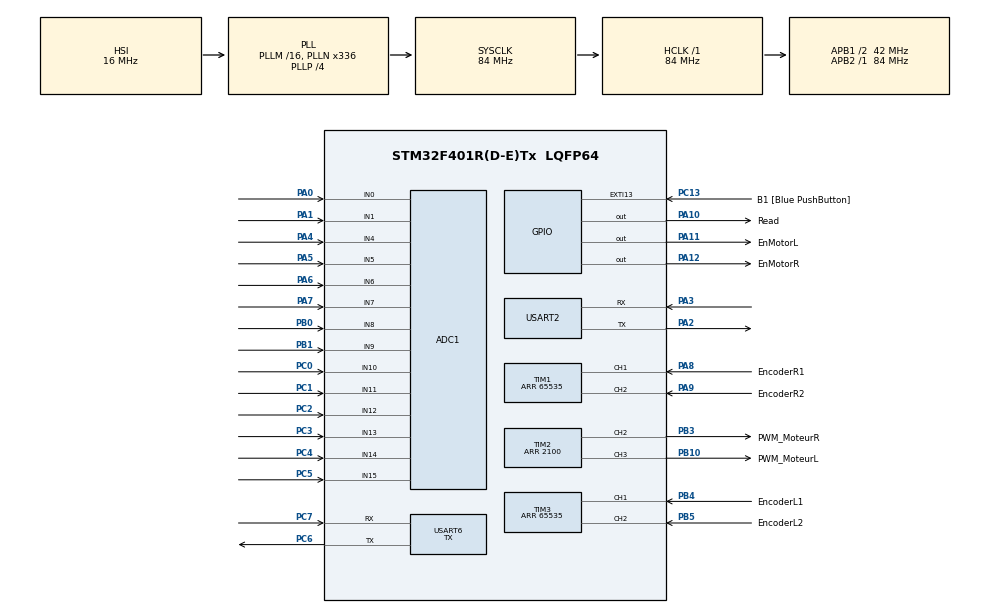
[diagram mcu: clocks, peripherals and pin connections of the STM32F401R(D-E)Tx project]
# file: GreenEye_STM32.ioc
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ADC1.Channel-0\#ChannelRegularConversion=ADC_CHANNEL_0
ADC1.Channel-1\#ChannelRegularConversion=ADC_CHANNEL_1
ADC1.Channel-10\#ChannelRegularConversion=ADC_CHANNEL_7
ADC1.Channel-11\#ChannelRegularConversion=ADC_CHANNEL_9
ADC1.Channel-12\#ChannelRegularConversion=ADC_CHANNEL_14
ADC1.Channel-2\#ChannelRegularConversion=ADC_CHANNEL_4
ADC1.Channel-3\#ChannelRegularConversion=ADC_CHANNEL_8
ADC1.Channel-4\#ChannelRegularConversion=ADC_CHANNEL_11
ADC1.Channel-5\#ChannelRegularConversion=ADC_CHANNEL_10
ADC1.Channel-6\#ChannelRegularConversion=ADC_CHANNEL_12
ADC1.Channel-7\#ChannelRegularConversion=ADC_CHANNEL_13
ADC1.Channel-8\#ChannelRegularConversion=ADC_CHANNEL_5
ADC1.Channel-9\#ChannelRegularConversion=ADC_CHANNEL_6
ADC1.ContinuousConvMode=DISABLE
ADC1.DMAContinuousRequests=ENABLE
ADC1.EOCSelection=ADC_EOC_SEQ_CONV
ADC1.ExternalTrigConv=ADC_SOFTWARE_START
ADC1.ExternalTrigConvEdge=ADC_EXTERNALTRIGCONVEDGE_NONE
ADC1.InjNumberOfConversion=0
ADC1.NbrOfConversion=13
ADC1.NbrOfConversionFlag=1
ADC1.Rank-0\#ChannelRegularConversion=1
ADC1.Rank-1\#ChannelRegularConversion=2
ADC1.Rank-10\#ChannelRegularConversion=11
ADC1.Rank-11\#ChannelRegularConversion=12
ADC1.Rank-12\#ChannelRegularConversion=13
ADC1.Rank-2\#ChannelRegularConversion=3
ADC1.Rank-3\#ChannelRegularConversion=4
ADC1.Rank-4\#ChannelRegularConversion=5
ADC1.Rank-5\#ChannelRegularConversion=6
ADC1.Rank-6\#ChannelRegularConversion=7
ADC1.Rank-7\#ChannelRegularConversion=8
ADC1.Rank-8\#ChannelRegularConversion=9
ADC1.Rank-9\#ChannelRegularConversion=10
ADC1.SamplingTime-0\#ChannelRegularConversion=ADC_SAMPLETIME_3CYCLES
ADC1.SamplingTime-1\#ChannelRegularConversion=ADC_SAMPLETIME_3CYCLES
ADC1.SamplingTime-10\#ChannelRegularConversion=ADC_SAMPLETIME_3CYCLES
ADC1.SamplingTime-11\#ChannelRegularConversion=ADC_SAMPLETIME_3CYCLES
ADC1.SamplingTime-12\#ChannelRegularConversion=ADC_SAMPLETIME_3CYCLES
ADC1.SamplingTime-2\#ChannelRegularConversion=ADC_SAMPLETIME_3CYCLES
ADC1.SamplingTime-3\#ChannelRegularConversion=ADC_SAMPLETIME_3CYCLES
ADC1.SamplingTime-4\#ChannelRegularConversion=ADC_SAMPLETIME_3CYCLES
ADC1.SamplingTime-5\#ChannelRegularConversion=ADC_SAMPLETIME_3CYCLES
ADC1.SamplingTime-6\#ChannelRegularConversion=ADC_SAMPLETIME_3CYCLES
ADC1.SamplingTime-7\#ChannelRegularConversion=ADC_SAMPLETIME_3CYCLES
ADC1.SamplingTime-8\#ChannelRegularConversion=ADC_SAMPLETIME_3CYCLES
ADC1.SamplingTime-9\#ChannelRegularConversion=ADC_SAMPLETIME_3CYCLES
ADC1.ScanConvMode=ENABLE
ADC1.master=1
Dma.ADC1.4.Direction=DMA_PERIPH_TO_MEMORY
Dma.ADC1.4.FIFOMode=DMA_FIFOMODE_DISABLE
Dma.ADC1.4.Instance=DMA2_Stream0
Dma.ADC1.4.MemDataAlignment=DMA_MDATAALIGN_WORD
Dma.ADC1.4.MemInc=DMA_MINC_ENABLE
Dma.ADC1.4.Mode=DMA_CIRCULAR
Dma.ADC1.4.PeriphDataAlignment=DMA_PDATAALIGN_WORD
Dma.ADC1.4.PeriphInc=DMA_PINC_DISABLE
Dma.ADC1.4.Priority=DMA_PRIORITY_LOW
Dma.Request0=USART6_RX
Dma.Request1=USART6_TX
Dma.Request2=USART2_RX
Dma.Request3=USART2_TX
Dma.Request4=ADC1
Dma.USART2_RX.2.Direction=DMA_PERIPH_TO_MEMORY
Dma.USART2_RX.2.FIFOMode=DMA_FIFOMODE_DISABLE
Dma.USART2_RX.2.Instance=DMA1_Stream5
Dma.USART2_RX.2.MemDataAlignment=DMA_MDATAALIGN_BYTE
Dma.USART2_RX.2.MemInc=DMA_MINC_ENABLE
Dma.USART2_RX.2.Mode=DMA_CIRCULAR
Dma.USART2_RX.2.PeriphDataAlignment=DMA_PDATAALIGN_BYTE
Dma.USART2_RX.2.PeriphInc=DMA_PINC_DISABLE
Dma.USART2_RX.2.Priority=DMA_PRIORITY_LOW
Dma.USART2_TX.3.Direction=DMA_MEMORY_TO_PERIPH
Dma.USART2_TX.3.FIFOMode=DMA_FIFOMODE_DISABLE
Dma.USART2_TX.3.Instance=DMA1_Stream6
Dma.USART2_TX.3.MemDataAlignment=DMA_MDATAALIGN_BYTE
Dma.USART2_TX.3.MemInc=DMA_MINC_ENABLE
Dma.USART2_TX.3.Mode=DMA_NORMAL
Dma.USART2_TX.3.PeriphDataAlignment=DMA_PDATAALIGN_BYTE
Dma.USART2_TX.3.PeriphInc=DMA_PINC_DISABLE
Dma.USART2_TX.3.Priority=DMA_PRIORITY_LOW
Dma.USART6_RX.0.Direction=DMA_PERIPH_TO_MEMORY
Dma.USART6_RX.0.FIFOMode=DMA_FIFOMODE_DISABLE
Dma.USART6_RX.0.Instance=DMA2_Stream1
Dma.USART6_RX.0.MemDataAlignment=DMA_MDATAALIGN_BYTE
Dma.USART6_RX.0.MemInc=DMA_MINC_ENABLE
Dma.USART6_RX.0.Mode=DMA_NORMAL
Dma.USART6_RX.0.PeriphDataAlignment=DMA_PDATAALIGN_BYTE
Dma.USART6_RX.0.PeriphInc=DMA_PINC_DISABLE
Dma.USART6_RX.0.Priority=DMA_PRIORITY_LOW
Dma.USART6_TX.1.Direction=DMA_MEMORY_TO_PERIPH
Dma.USART6_TX.1.FIFOMode=DMA_FIFOMODE_DISABLE
Dma.USART6_TX.1.Instance=DMA2_Stream6
Dma.USART6_TX.1.MemDataAlignment=DMA_MDATAALIGN_BYTE
Dma.USART6_TX.1.MemInc=DMA_MINC_ENABLE
Dma.USART6_TX.1.Mode=DMA_NORMAL
Dma.USART6_TX.1.PeriphDataAlignment=DMA_PDATAALIGN_BYTE
Dma.USART6_TX.1.PeriphInc=DMA_PINC_DISABLE
Dma.USART6_TX.1.Priority=DMA_PRIORITY_LOW
Mcu.Family=STM32F4
Mcu.Name=STM32F401R(D-E)Tx
Mcu.Package=LQFP64
NVIC.ADC_IRQn=true\:0\:0\:false\:false\:true\:true
NVIC.DMA1_Stream5_IRQn=true\:0\:0\:false\:false\:true\:false
NVIC.DMA1_Stream6_IRQn=true\:0\:0\:false\:false\:true\:false
NVIC.DMA2_Stream0_IRQn=true\:0\:0\:false\:false\:true\:false
NVIC.DMA2_Stream1_IRQn=true\:0\:0\:false\:false\:true\:false
NVIC.DMA2_Stream6_IRQn=true\:0\:0\:false\:false\:true\:false
NVIC.PriorityGroup=NVIC_PRIORITYGROUP_0
NVIC.TIM1_BRK_TIM9_IRQn=true\:0\:0\:false\:false\:true\:true
NVIC.TIM1_TRG_COM_TIM11_IRQn=true\:0\:0\:false\:false\:true\:true
NVIC.TIM1_UP_TIM10_IRQn=true\:0\:0\:false\:false\:true\:true
NVIC.USART2_IRQn=true\:0\:0\:false\:false\:true\:true
NVIC.USART6_IRQn=true\:0\:0\:false\:false\:true\:true
PA0-WKUP.Signal=ADCx_IN0
PA1.Signal=ADCx_IN1
PA10.GPIO_Label=Read
PA10.Signal=GPIO_Output
PA11.GPIO_Label=EnMotorL
PA11.GPIO_Speed=GPIO_SPEED_FREQ_VERY_HIGH
PA11.Signal=GPIO_Output
PA12.GPIO_Label=EnMotorR
PA12.GPIO_Speed=GPIO_SPEED_FREQ_VERY_HIGH
PA12.Signal=GPIO_Output
PA13.GPIO_Label=TMS
PA13.Mode=Serial_Wire
PA13.Signal=SYS_JTMS-SWDIO
PA14.GPIO_Label=TCK
PA14.Mode=Serial_Wire
PA14.Signal=SYS_JTCK-SWCLK
PA2.Mode=Asynchronous
PA2.Signal=USART2_TX
PA3.Mode=Asynchronous
PA3.Signal=USART2_RX
PA4.Signal=ADCx_IN4
PA5.Signal=ADCx_IN5
PA6.Signal=ADCx_IN6
PA7.Signal=ADCx_IN7
PA8.GPIO_Label=EncoderR1
PA8.GPIO_ModeDefaultPP=GPIO_MODE_AF_PP
PA8.GPIO_PuPd=GPIO_PULLUP
PA8.GPIO_Speed=GPIO_SPEED_FREQ_VERY_HIGH
PA8.Signal=S_TIM1_CH1
PA9.GPIO_Label=EncoderR2
PA9.GPIO_ModeDefaultPP=GPIO_MODE_AF_PP
PA9.GPIO_PuPd=GPIO_PULLUP
PA9.GPIO_Speed=GPIO_SPEED_FREQ_VERY_HIGH
PA9.Signal=S_TIM1_CH2
PB0.Signal=ADCx_IN8
PB1.Signal=ADCx_IN9
PB10.GPIO_Label=PWM_MoteurL
PB10.Signal=S_TIM2_CH3
PB3.GPIO_Label=PWM_MoteurR
PB3.Signal=S_TIM2_CH2
PB4.GPIO_Label=EncoderL1
PB4.GPIO_ModeDefaultPP=GPIO_MODE_AF_PP
PB4.GPIO_PuPd=GPIO_PULLUP
PB4.GPIO_Speed=GPIO_SPEED_FREQ_VERY_HIGH
PB4.Signal=S_TIM3_CH1
PB5.GPIO_Label=EncoderL2
PB5.GPIO_ModeDefaultPP=GPIO_MODE_AF_PP
PB5.GPIO_PuPd=GPIO_PULLUP
PB5.GPIO_Speed=GPIO_SPEED_FREQ_VERY_HIGH
PB5.Signal=S_TIM3_CH2
PC0.Signal=ADCx_IN10
PC1.Signal=ADCx_IN11
PC13-ANTI_TAMP.GPIO_Label=B1 [Blue PushButton]
PC13-ANTI_TAMP.GPIO_ModeDefaultEXTI=GPIO_MODE_IT_FALLING
PC13-ANTI_TAMP.GPIO_PuPd=GPIO_NOPULL
PC13-ANTI_TAMP.Signal=GPXTI13
PC14-OSC32_IN.Mode=LSE-External-Oscillator
PC14-OSC32_IN.Signal=RCC_OSC32_IN
PC15-OSC32_OUT.Mode=LSE-External-Oscillator
PC15-OSC32_OUT.Signal=RCC_OSC32_OUT
PC2.Signal=ADCx_IN12
PC3.Signal=ADCx_IN13
PC4.Signal=ADCx_IN14
PC5.Signal=ADCx_IN15
PC6.Mode=Asynchronous
PC6.Signal=USART6_TX
PC7.Mode=Asynchronous
PC7.Signal=USART6_RX
PH0\ -\ OSC_IN.Mode=HSE-External-Clock-Source
PH0\ -\ OSC_IN.Signal=RCC_OSC_IN
PH1\ -\ OSC_OUT.Mode=HSE-External-Clock-Source
PH1\ -\ OSC_OUT.Signal=RCC_OSC_OUT
ProjectManager.HeapSize=0x200
ProjectManager.StackSize=0x400
ProjectManager.TargetToolchain=MDK-ARM V5
RCC.48MHZClocksFreq_Value=48000000
RCC.AHBFreq_Value=84000000
RCC.APB1CLKDivider=RCC_HCLK_DIV2
RCC.APB1Freq_Value=42000000
RCC.APB1TimFreq_Value=84000000
RCC.APB2Freq_Value=84000000
RCC.APB2TimFreq_Value=84000000
RCC.CortexFreq_Value=84000000
RCC.HCLKFreq_Value=84000000
RCC.HSE_VALUE=8000000
RCC.HSI_VALUE=16000000
RCC.PLLN=336
RCC.PLLP=RCC_PLLP_DIV4
RCC.PLLQ=7
RCC.SYSCLKFreq_VALUE=84000000
RCC.SYSCLKSource=RCC_SYSCLKSOURCE_PLLCLK
RCC.VCOOutputFreq_Value=336000000
SH.ADCx_IN0.0=ADC1_IN0,IN0
SH.ADCx_IN1.0=ADC1_IN1,IN1
SH.ADCx_IN10.0=ADC1_IN10,IN10
SH.ADCx_IN11.0=ADC1_IN11,IN11
SH.ADCx_IN12.0=ADC1_IN12,IN12
SH.ADCx_IN13.0=ADC1_IN13,IN13
SH.ADCx_IN14.0=ADC1_IN14,IN14
SH.ADCx_IN15.0=ADC1_IN15,IN15
SH.ADCx_IN4.0=ADC1_IN4,IN4
SH.ADCx_IN5.0=ADC1_IN5,IN5
SH.ADCx_IN6.0=ADC1_IN6,IN6
SH.ADCx_IN7.0=ADC1_IN7,IN7
SH.ADCx_IN8.0=ADC1_IN8,IN8
SH.ADCx_IN9.0=ADC1_IN9,IN9
SH.S_TIM1_CH1.0=TIM1_CH1,Encoder_Interface
SH.S_TIM1_CH2.0=TIM1_CH2,Encoder_Interface
SH.S_TIM2_CH2.0=TIM2_CH2,PWM Generation2 CH2
SH.S_TIM2_CH3.0=TIM2_CH3,PWM Generation3 CH3
SH.S_TIM3_CH1.0=TIM3_CH1,Encoder_Interface
SH.S_TIM3_CH2.0=TIM3_CH2,Encoder_Interface
TIM1.EncoderMode=TIM_ENCODERMODE_TI12
TIM1.IC1Filter=0
TIM1.IC1Prescaler=TIM_ICPSC_DIV1
TIM1.IC2Filter=0
TIM1.IC2Prescaler=TIM_ICPSC_DIV1
TIM1.Period=65535
TIM1.TIM_MasterOutputTrigger=TIM_TRGO_UPDATE
TIM1.TIM_MasterSlaveMode=TIM_MASTERSLAVEMODE_DISABLE
TIM10.Period=42300
TIM10.Prescaler=19
TIM11.Period=21000
TIM11.Prescaler=0
TIM2.Channel-Output\ Compare4\ No\ Output=TIM_CHANNEL_4
TIM2.Channel-PWM\ Generation2\ CH2=TIM_CHANNEL_2
TIM2.Channel-PWM\ Generation3\ CH3=TIM_CHANNEL_3
TIM2.CounterMode=TIM_COUNTERMODE_CENTERALIGNED1
TIM2.OCMode_4=TIM_OCMODE_TOGGLE
TIM2.Period=2100
TIM3.EncoderMode=TIM_ENCODERMODE_TI12
TIM3.IC1Filter=0
TIM3.IC1Prescaler=TIM_ICPSC_DIV1
TIM3.IC2Filter=0
TIM3.IC2Prescaler=TIM_ICPSC_DIV1
TIM3.Period=65535
TIM9.Period=42300
TIM9.Prescaler=25
USART2.VirtualMode=VM_ASYNC
USART6.Mode=MODE_TX
USART6.VirtualMode=VM_ASYNC
VP_TIM10_VS_ClockSourceINT.Mode=Enable_Timer
VP_TIM11_VS_ClockSourceINT.Mode=Enable_Timer
VP_TIM2_VS_ClockSourceINT.Mode=Internal
VP_TIM2_VS_no_output4.Mode=Output Compare4 No Output
VP_TIM9_VS_ClockSourceINT.Mode=Internal
board=NUCLEO-F401RE

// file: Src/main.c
/* USER CODE BEGIN Header */
/**
  ******************************************************************************
  * @file           : main.c
  * @brief          : Main program body
  ******************************************************************************
  ** This notice applies to any and all portions of this file
  * that are not between comment pairs USER CODE BEGIN and
  * USER CODE END. Other portions of this file, whether
  * inserted by the user or by software development tools
  * are owned by their respective copyright owners.
  *
  * COPYRIGHT(c) 2019 STMicroelectronics
  *
  * Redistribution and use in source and binary forms, with or without modification,
  * are permitted provided that the following conditions are met:
  *   1. Redistributions of source code must retain the above copyright notice,
  *      this list of conditions and the following disclaimer.
  *   2. Redistributions in binary form must reproduce the above copyright notice,
  *      this list of conditions and the following disclaimer in the documentation
  *      and/or other materials provided with the distribution.
  *   3. Neither the name of STMicroelectronics nor the names of its contributors
  *      may be used to endorse or promote products derived from this software
  *      without specific prior written permission.
  *
  * THIS SOFTWARE IS PROVIDED BY THE COPYRIGHT HOLDERS AND CONTRIBUTORS "AS IS"
  * AND ANY EXPRESS OR IMPLIED WARRANTIES, INCLUDING, BUT NOT LIMITED TO, THE
  * IMPLIED WARRANTIES OF MERCHANTABILITY AND FITNESS FOR A PARTICULAR PURPOSE ARE
  * DISCLAIMED. IN NO EVENT SHALL THE COPYRIGHT HOLDER OR CONTRIBUTORS BE LIABLE
  * FOR ANY DIRECT, INDIRECT, INCIDENTAL, SPECIAL, EXEMPLARY, OR CONSEQUENTIAL
  * DAMAGES (INCLUDING, BUT NOT LIMITED TO, PROCUREMENT OF SUBSTITUTE GOODS OR
  * SERVICES; LOSS OF USE, DATA, OR PROFITS; OR BUSINESS INTERRUPTION) HOWEVER
  * CAUSED AND ON ANY THEORY OF LIABILITY, WHETHER IN CONTRACT, STRICT LIABILITY,
  * OR TORT (INCLUDING NEGLIGENCE OR OTHERWISE) ARISING IN ANY WAY OUT OF THE USE
  * OF THIS SOFTWARE, EVEN IF ADVISED OF THE POSSIBILITY OF SUCH DAMAGE.
  *
  ******************************************************************************
  */
/* USER CODE END Header */

#include "main.h"

/* USER CODE BEGIN Includes */
#include <stdio.h>
#include <stdlib.h>
#include <math.h>
#include <string.h>
#include "Communication_function.h"
#include "Extern_call_variable.h"
#include "List_Variables.h"
/* USER CODE END Includes */

ADC_HandleTypeDef hadc1;
DMA_HandleTypeDef hdma_adc1;

TIM_HandleTypeDef htim1;
TIM_HandleTypeDef htim2;
TIM_HandleTypeDef htim3;
TIM_HandleTypeDef htim9;
TIM_HandleTypeDef htim10;
TIM_HandleTypeDef htim11;

UART_HandleTypeDef huart2;
UART_HandleTypeDef huart6;
DMA_HandleTypeDef hdma_usart2_rx;
DMA_HandleTypeDef hdma_usart2_tx;
DMA_HandleTypeDef hdma_usart6_rx;
DMA_HandleTypeDef hdma_usart6_tx;

/* USER CODE BEGIN PV */
CONTROL_TYPE REGULATOR=No_Control,REGULATOR_CACHE=No_Control;

/* USER CODE END PV */

void SystemClock_Config(void);
static void MX_GPIO_Init(void);
static void MX_DMA_Init(void);
static void MX_TIM1_Init(void);
static void MX_TIM9_Init(void);
static void MX_USART6_UART_Init(void);
static void MX_USART2_UART_Init(void);
static void MX_ADC1_Init(void);
static void MX_TIM3_Init(void);
static void MX_TIM2_Init(void);
static void MX_TIM10_Init(void);
static void MX_TIM11_Init(void);

int main(void)
{

  /* MCU Configuration--------------------------------------------------------*/

  /* Reset of all peripherals, Initializes the Flash interface and the Systick. */
  HAL_Init();

  /* Configure the system clock */
  SystemClock_Config();

  /* Initialize all configured peripherals */
  MX_GPIO_Init();
  MX_DMA_Init();
  MX_TIM1_Init();
  MX_TIM9_Init();
  MX_USART6_UART_Init();
  MX_USART2_UART_Init();
  MX_ADC1_Init();
  MX_TIM3_Init();
  MX_TIM2_Init();
  MX_TIM10_Init();
  MX_TIM11_Init();
  /* USER CODE BEGIN 2 */
  //HAL_TIM_Base_Start(&htim1);  //PA9 & PA8 for ch1 and ch2 of encoder by default
	//HAL_TIM_Base_Start(&htim5);  //PA9 & PA8 for ch1 and ch2 of encoder by default
	HAL_TIM_PWM_Start(&htim2,TIM_CHANNEL_2);// PWM Moteur
	HAL_TIM_PWM_Start(&htim2,TIM_CHANNEL_3);// PWM Moteur
	HAL_TIM_OC_Start(&htim2,TIM_CHANNEL_4);//Conversion adc
	HAL_TIM_Encoder_Start(&htim1,TIM_CHANNEL_ALL);
	HAL_TIM_Encoder_Start(&htim3,TIM_CHANNEL_ALL);
	HAL_TIM_Base_Start_IT(&htim9); // 100 hz interrupt
	HAL_TIM_Base_Start_IT(&htim10); // 100 hz interrupt
	HAL_TIM_Base_Start_IT(&htim11); //  hz interrupt
	HAL_ADC_Start_DMA(&hadc1,Result_ADC,13);
	__HAL_UART_ENABLE_IT(&huart2, UART_IT_IDLE);   // Enable IDLE Line Interrupt
	__HAL_DMA_ENABLE_IT (&hdma_usart2_rx, DMA_IT_TC);  // Enable DMA Complete Interruption (DMA is full)
	hdma_usart2_rx.Instance->CR &= ~DMA_SxCR_HTIE;  // Disable DMA Half Complete Interruption (DMA is half full)
	HAL_UART_Receive_DMA (&huart2, BUFFER_RX_UART2[Indice_Stop_RX_UART2], SIZE_UART);
	uint8_t Answer[64];
	sprintf((char*)Answer,"STM32_Primary");
	//Transmit_UART_2(Answer);
  /* USER CODE END 2 */

  /* Infinite loop */
  /* USER CODE BEGIN WHILE */
	/* Communication with :Transmit_UART_2();)*/
  while (1)
  {
    /* USER CODE END WHILE */

    /* USER CODE BEGIN 3 */

	//TIM2->CCR2=abs(Output_Right_Motor);
					//HAL_GPIO_WritePin(GPIOA,GPIO_PIN_12,GPIO_PIN_RESET);

	}
  /* USER CODE END 3 */
}

void SystemClock_Config(void)
{
  RCC_OscInitTypeDef RCC_OscInitStruct = {0};
  RCC_ClkInitTypeDef RCC_ClkInitStruct = {0};

  /**Configure the main internal regulator output voltage
  */
  __HAL_RCC_PWR_CLK_ENABLE();
  __HAL_PWR_VOLTAGESCALING_CONFIG(PWR_REGULATOR_VOLTAGE_SCALE2);
  /**Initializes the CPU, AHB and APB busses clocks
  */
  RCC_OscInitStruct.OscillatorType = RCC_OSCILLATORTYPE_HSI;
  RCC_OscInitStruct.HSIState = RCC_HSI_ON;
  RCC_OscInitStruct.HSICalibrationValue = RCC_HSICALIBRATION_DEFAULT;
  RCC_OscInitStruct.PLL.PLLState = RCC_PLL_ON;
  RCC_OscInitStruct.PLL.PLLSource = RCC_PLLSOURCE_HSI;
  RCC_OscInitStruct.PLL.PLLM = 16;
  RCC_OscInitStruct.PLL.PLLN = 336;
  RCC_OscInitStruct.PLL.PLLP = RCC_PLLP_DIV4;
  RCC_OscInitStruct.PLL.PLLQ = 7;
  if (HAL_RCC_OscConfig(&RCC_OscInitStruct) != HAL_OK)
  {
    Error_Handler();
  }
  /**Initializes the CPU, AHB and APB busses clocks
  */
  RCC_ClkInitStruct.ClockType = RCC_CLOCKTYPE_HCLK|RCC_CLOCKTYPE_SYSCLK
                              |RCC_CLOCKTYPE_PCLK1|RCC_CLOCKTYPE_PCLK2;
  RCC_ClkInitStruct.SYSCLKSource = RCC_SYSCLKSOURCE_PLLCLK;
  RCC_ClkInitStruct.AHBCLKDivider = RCC_SYSCLK_DIV1;
  RCC_ClkInitStruct.APB1CLKDivider = RCC_HCLK_DIV2;
  RCC_ClkInitStruct.APB2CLKDivider = RCC_HCLK_DIV1;

  if (HAL_RCC_ClockConfig(&RCC_ClkInitStruct, FLASH_LATENCY_2) != HAL_OK)
  {
    Error_Handler();
  }
}

static void MX_ADC1_Init(void)
{

  ADC_ChannelConfTypeDef sConfig = {0};

  /**Configure the global features of the ADC (Clock, Resolution, Data Alignment and number of conversion)
  */
  hadc1.Instance = ADC1;
  hadc1.Init.ClockPrescaler = ADC_CLOCK_SYNC_PCLK_DIV4;
  hadc1.Init.Resolution = ADC_RESOLUTION_12B;
  hadc1.Init.ScanConvMode = ENABLE;
  hadc1.Init.ContinuousConvMode = DISABLE;
  hadc1.Init.DiscontinuousConvMode = DISABLE;
  hadc1.Init.ExternalTrigConvEdge = ADC_EXTERNALTRIGCONVEDGE_NONE;
  hadc1.Init.ExternalTrigConv = ADC_SOFTWARE_START;
  hadc1.Init.DataAlign = ADC_DATAALIGN_RIGHT;
  hadc1.Init.NbrOfConversion = 13;
  hadc1.Init.DMAContinuousRequests = ENABLE;
  hadc1.Init.EOCSelection = ADC_EOC_SEQ_CONV;
  if (HAL_ADC_Init(&hadc1) != HAL_OK)
  {
    Error_Handler();
  }
  /**Configure for the selected ADC regular channel its corresponding rank in the sequencer and its sample time.
  */
  sConfig.Channel = ADC_CHANNEL_0;
  sConfig.Rank = 1;
  sConfig.SamplingTime = ADC_SAMPLETIME_3CYCLES;
  if (HAL_ADC_ConfigChannel(&hadc1, &sConfig) != HAL_OK)
  {
    Error_Handler();
  }
  /**Configure for the selected ADC regular channel its corresponding rank in the sequencer and its sample time.
  */
  sConfig.Channel = ADC_CHANNEL_1;
  sConfig.Rank = 2;
  if (HAL_ADC_ConfigChannel(&hadc1, &sConfig) != HAL_OK)
  {
    Error_Handler();
  }
  /**Configure for the selected ADC regular channel its corresponding rank in the sequencer and its sample time.
  */
  sConfig.Channel = ADC_CHANNEL_4;
  sConfig.Rank = 3;
  if (HAL_ADC_ConfigChannel(&hadc1, &sConfig) != HAL_OK)
  {
    Error_Handler();
  }
  /**Configure for the selected ADC regular channel its corresponding rank in the sequencer and its sample time.
  */
  sConfig.Channel = ADC_CHANNEL_8;
  sConfig.Rank = 4;
  if (HAL_ADC_ConfigChannel(&hadc1, &sConfig) != HAL_OK)
  {
    Error_Handler();
  }
  /**Configure for the selected ADC regular channel its corresponding rank in the sequencer and its sample time.
  */
  sConfig.Channel = ADC_CHANNEL_11;
  sConfig.Rank = 5;
  if (HAL_ADC_ConfigChannel(&hadc1, &sConfig) != HAL_OK)
  {
    Error_Handler();
  }
  /**Configure for the selected ADC regular channel its corresponding rank in the sequencer and its sample time.
  */
  sConfig.Channel = ADC_CHANNEL_10;
  sConfig.Rank = 6;
  if (HAL_ADC_ConfigChannel(&hadc1, &sConfig) != HAL_OK)
  {
    Error_Handler();
  }
  /**Configure for the selected ADC regular channel its corresponding rank in the sequencer and its sample time.
  */
  sConfig.Channel = ADC_CHANNEL_12;
  sConfig.Rank = 7;
  if (HAL_ADC_ConfigChannel(&hadc1, &sConfig) != HAL_OK)
  {
    Error_Handler();
  }
  /**Configure for the selected ADC regular channel its corresponding rank in the sequencer and its sample time.
  */
  sConfig.Channel = ADC_CHANNEL_13;
  sConfig.Rank = 8;
  if (HAL_ADC_ConfigChannel(&hadc1, &sConfig) != HAL_OK)
  {
    Error_Handler();
  }
  /**Configure for the selected ADC regular channel its corresponding rank in the sequencer and its sample time.
  */
  sConfig.Channel = ADC_CHANNEL_5;
  sConfig.Rank = 9;
  if (HAL_ADC_ConfigChannel(&hadc1, &sConfig) != HAL_OK)
  {
    Error_Handler();
  }
  /**Configure for the selected ADC regular channel its corresponding rank in the sequencer and its sample time.
  */
  sConfig.Channel = ADC_CHANNEL_6;
  sConfig.Rank = 10;
  if (HAL_ADC_ConfigChannel(&hadc1, &sConfig) != HAL_OK)
  {
    Error_Handler();
  }
  /**Configure for the selected ADC regular channel its corresponding rank in the sequencer and its sample time.
  */
  sConfig.Channel = ADC_CHANNEL_7;
  sConfig.Rank = 11;
  if (HAL_ADC_ConfigChannel(&hadc1, &sConfig) != HAL_OK)
  {
    Error_Handler();
  }
  /**Configure for the selected ADC regular channel its corresponding rank in the sequencer and its sample time.
  */
  sConfig.Channel = ADC_CHANNEL_9;
  sConfig.Rank = 12;
  if (HAL_ADC_ConfigChannel(&hadc1, &sConfig) != HAL_OK)
  {
    Error_Handler();
  }
  /**Configure for the selected ADC regular channel its corresponding rank in the sequencer and its sample time.
  */
  sConfig.Channel = ADC_CHANNEL_14;
  sConfig.Rank = 13;
  if (HAL_ADC_ConfigChannel(&hadc1, &sConfig) != HAL_OK)
  {
    Error_Handler();
  }

}

static void MX_TIM1_Init(void)
{

  TIM_Encoder_InitTypeDef sConfig = {0};
  TIM_MasterConfigTypeDef sMasterConfig = {0};

  htim1.Instance = TIM1;
  htim1.Init.Prescaler = 0;
  htim1.Init.CounterMode = TIM_COUNTERMODE_UP;
  htim1.Init.Period = 65535;
  htim1.Init.ClockDivision = TIM_CLOCKDIVISION_DIV1;
  htim1.Init.RepetitionCounter = 0;
  sConfig.EncoderMode = TIM_ENCODERMODE_TI12;
  sConfig.IC1Polarity = TIM_ICPOLARITY_RISING;
  sConfig.IC1Selection = TIM_ICSELECTION_DIRECTTI;
  sConfig.IC1Prescaler = TIM_ICPSC_DIV1;
  sConfig.IC1Filter = 0;
  sConfig.IC2Polarity = TIM_ICPOLARITY_RISING;
  sConfig.IC2Selection = TIM_ICSELECTION_DIRECTTI;
  sConfig.IC2Prescaler = TIM_ICPSC_DIV1;
  sConfig.IC2Filter = 0;
  if (HAL_TIM_Encoder_Init(&htim1, &sConfig) != HAL_OK)
  {
    Error_Handler();
  }
  sMasterConfig.MasterOutputTrigger = TIM_TRGO_UPDATE;
  sMasterConfig.MasterSlaveMode = TIM_MASTERSLAVEMODE_DISABLE;
  if (HAL_TIMEx_MasterConfigSynchronization(&htim1, &sMasterConfig) != HAL_OK)
  {
    Error_Handler();
  }

}

static void MX_TIM2_Init(void)
{

  TIM_ClockConfigTypeDef sClockSourceConfig = {0};
  TIM_MasterConfigTypeDef sMasterConfig = {0};
  TIM_OC_InitTypeDef sConfigOC = {0};

  htim2.Instance = TIM2;
  htim2.Init.Prescaler = 0;
  htim2.Init.CounterMode = TIM_COUNTERMODE_CENTERALIGNED1;
  htim2.Init.Period = 2100;
  htim2.Init.ClockDivision = TIM_CLOCKDIVISION_DIV1;
  if (HAL_TIM_Base_Init(&htim2) != HAL_OK)
  {
    Error_Handler();
  }
  sClockSourceConfig.ClockSource = TIM_CLOCKSOURCE_INTERNAL;
  if (HAL_TIM_ConfigClockSource(&htim2, &sClockSourceConfig) != HAL_OK)
  {
    Error_Handler();
  }
  if (HAL_TIM_PWM_Init(&htim2) != HAL_OK)
  {
    Error_Handler();
  }
  if (HAL_TIM_OC_Init(&htim2) != HAL_OK)
  {
    Error_Handler();
  }
  sMasterConfig.MasterOutputTrigger = TIM_TRGO_RESET;
  sMasterConfig.MasterSlaveMode = TIM_MASTERSLAVEMODE_DISABLE;
  if (HAL_TIMEx_MasterConfigSynchronization(&htim2, &sMasterConfig) != HAL_OK)
  {
    Error_Handler();
  }
  sConfigOC.OCMode = TIM_OCMODE_PWM1;
  sConfigOC.Pulse = 0;
  sConfigOC.OCPolarity = TIM_OCPOLARITY_HIGH;
  sConfigOC.OCFastMode = TIM_OCFAST_DISABLE;
  if (HAL_TIM_PWM_ConfigChannel(&htim2, &sConfigOC, TIM_CHANNEL_2) != HAL_OK)
  {
    Error_Handler();
  }
  if (HAL_TIM_PWM_ConfigChannel(&htim2, &sConfigOC, TIM_CHANNEL_3) != HAL_OK)
  {
    Error_Handler();
  }
  sConfigOC.OCMode = TIM_OCMODE_TOGGLE;
  if (HAL_TIM_OC_ConfigChannel(&htim2, &sConfigOC, TIM_CHANNEL_4) != HAL_OK)
  {
    Error_Handler();
  }
  HAL_TIM_MspPostInit(&htim2);

}

static void MX_TIM3_Init(void)
{

  TIM_Encoder_InitTypeDef sConfig = {0};
  TIM_MasterConfigTypeDef sMasterConfig = {0};

  htim3.Instance = TIM3;
  htim3.Init.Prescaler = 0;
  htim3.Init.CounterMode = TIM_COUNTERMODE_UP;
  htim3.Init.Period = 65535;
  htim3.Init.ClockDivision = TIM_CLOCKDIVISION_DIV1;
  sConfig.EncoderMode = TIM_ENCODERMODE_TI12;
  sConfig.IC1Polarity = TIM_ICPOLARITY_RISING;
  sConfig.IC1Selection = TIM_ICSELECTION_DIRECTTI;
  sConfig.IC1Prescaler = TIM_ICPSC_DIV1;
  sConfig.IC1Filter = 0;
  sConfig.IC2Polarity = TIM_ICPOLARITY_RISING;
  sConfig.IC2Selection = TIM_ICSELECTION_DIRECTTI;
  sConfig.IC2Prescaler = TIM_ICPSC_DIV1;
  sConfig.IC2Filter = 0;
  if (HAL_TIM_Encoder_Init(&htim3, &sConfig) != HAL_OK)
  {
    Error_Handler();
  }
  sMasterConfig.MasterOutputTrigger = TIM_TRGO_RESET;
  sMasterConfig.MasterSlaveMode = TIM_MASTERSLAVEMODE_DISABLE;
  if (HAL_TIMEx_MasterConfigSynchronization(&htim3, &sMasterConfig) != HAL_OK)
  {
    Error_Handler();
  }

}

static void MX_TIM9_Init(void)
{

  TIM_ClockConfigTypeDef sClockSourceConfig = {0};

  htim9.Instance = TIM9;
  htim9.Init.Prescaler = 25;
  htim9.Init.CounterMode = TIM_COUNTERMODE_UP;
  htim9.Init.Period = 42300;
  htim9.Init.ClockDivision = TIM_CLOCKDIVISION_DIV1;
  if (HAL_TIM_Base_Init(&htim9) != HAL_OK)
  {
    Error_Handler();
  }
  sClockSourceConfig.ClockSource = TIM_CLOCKSOURCE_INTERNAL;
  if (HAL_TIM_ConfigClockSource(&htim9, &sClockSourceConfig) != HAL_OK)
  {
    Error_Handler();
  }

}

static void MX_TIM10_Init(void)
{

  htim10.Instance = TIM10;
  htim10.Init.Prescaler = 19;
  htim10.Init.CounterMode = TIM_COUNTERMODE_UP;
  htim10.Init.Period = 42300;
  htim10.Init.ClockDivision = TIM_CLOCKDIVISION_DIV1;
  if (HAL_TIM_Base_Init(&htim10) != HAL_OK)
  {
    Error_Handler();
  }

}

static void MX_TIM11_Init(void)
{

  htim11.Instance = TIM11;
  htim11.Init.Prescaler = 0;
  htim11.Init.CounterMode = TIM_COUNTERMODE_UP;
  htim11.Init.Period = 21000;
  htim11.Init.ClockDivision = TIM_CLOCKDIVISION_DIV1;
  if (HAL_TIM_Base_Init(&htim11) != HAL_OK)
  {
    Error_Handler();
  }

}

static void MX_USART2_UART_Init(void)
{

  huart2.Instance = USART2;
  huart2.Init.BaudRate = 115200;
  huart2.Init.WordLength = UART_WORDLENGTH_8B;
  huart2.Init.StopBits = UART_STOPBITS_1;
  huart2.Init.Parity = UART_PARITY_NONE;
  huart2.Init.Mode = UART_MODE_TX_RX;
  huart2.Init.HwFlowCtl = UART_HWCONTROL_NONE;
  huart2.Init.OverSampling = UART_OVERSAMPLING_16;
  if (HAL_UART_Init(&huart2) != HAL_OK)
  {
    Error_Handler();
  }

}

static void MX_USART6_UART_Init(void)
{

  huart6.Instance = USART6;
  huart6.Init.BaudRate = 115200;
  huart6.Init.WordLength = UART_WORDLENGTH_8B;
  huart6.Init.StopBits = UART_STOPBITS_1;
  huart6.Init.Parity = UART_PARITY_NONE;
  huart6.Init.Mode = UART_MODE_TX;
  huart6.Init.HwFlowCtl = UART_HWCONTROL_NONE;
  huart6.Init.OverSampling = UART_OVERSAMPLING_16;
  if (HAL_UART_Init(&huart6) != HAL_OK)
  {
    Error_Handler();
  }

}

static void MX_DMA_Init(void)
{
  /* DMA controller clock enable */
  __HAL_RCC_DMA2_CLK_ENABLE();
  __HAL_RCC_DMA1_CLK_ENABLE();

  /* DMA interrupt init */
  /* DMA1_Stream5_IRQn interrupt configuration */
  HAL_NVIC_SetPriority(DMA1_Stream5_IRQn, 0, 0);
  HAL_NVIC_EnableIRQ(DMA1_Stream5_IRQn);
  /* DMA1_Stream6_IRQn interrupt configuration */
  HAL_NVIC_SetPriority(DMA1_Stream6_IRQn, 0, 0);
  HAL_NVIC_EnableIRQ(DMA1_Stream6_IRQn);
  /* DMA2_Stream0_IRQn interrupt configuration */
  HAL_NVIC_SetPriority(DMA2_Stream0_IRQn, 0, 0);
  HAL_NVIC_EnableIRQ(DMA2_Stream0_IRQn);
  /* DMA2_Stream1_IRQn interrupt configuration */
  HAL_NVIC_SetPriority(DMA2_Stream1_IRQn, 0, 0);
  HAL_NVIC_EnableIRQ(DMA2_Stream1_IRQn);
  /* DMA2_Stream6_IRQn interrupt configuration */
  HAL_NVIC_SetPriority(DMA2_Stream6_IRQn, 0, 0);
  HAL_NVIC_EnableIRQ(DMA2_Stream6_IRQn);

}

static void MX_GPIO_Init(void)
{
  GPIO_InitTypeDef GPIO_InitStruct = {0};

  /* GPIO Ports Clock Enable */
  __HAL_RCC_GPIOC_CLK_ENABLE();
  __HAL_RCC_GPIOH_CLK_ENABLE();
  __HAL_RCC_GPIOA_CLK_ENABLE();
  __HAL_RCC_GPIOB_CLK_ENABLE();

  /*Configure GPIO pin Output Level */
  HAL_GPIO_WritePin(GPIOA, Read_Pin|EnMotorL_Pin|EnMotorR_Pin, GPIO_PIN_RESET);

  /*Configure GPIO pin : B1_Pin */
  GPIO_InitStruct.Pin = B1_Pin;
  GPIO_InitStruct.Mode = GPIO_MODE_IT_FALLING;
  GPIO_InitStruct.Pull = GPIO_NOPULL;
  HAL_GPIO_Init(B1_GPIO_Port, &GPIO_InitStruct);

  /*Configure GPIO pin : Read_Pin */
  GPIO_InitStruct.Pin = Read_Pin;
  GPIO_InitStruct.Mode = GPIO_MODE_OUTPUT_PP;
  GPIO_InitStruct.Pull = GPIO_NOPULL;
  GPIO_InitStruct.Speed = GPIO_SPEED_FREQ_LOW;
  HAL_GPIO_Init(Read_GPIO_Port, &GPIO_InitStruct);

  /*Configure GPIO pins : EnMotorL_Pin EnMotorR_Pin */
  GPIO_InitStruct.Pin = EnMotorL_Pin|EnMotorR_Pin;
  GPIO_InitStruct.Mode = GPIO_MODE_OUTPUT_PP;
  GPIO_InitStruct.Pull = GPIO_NOPULL;
  GPIO_InitStruct.Speed = GPIO_SPEED_FREQ_VERY_HIGH;
  HAL_GPIO_Init(GPIOA, &GPIO_InitStruct);

}

/* USER CODE BEGIN 4 */
void HAL_ADC_ConvCpltCallback(ADC_HandleTypeDef* AdcHandle)
{
	HAL_ADC_Start_DMA(&hadc1,Result_ADC,13);

}
int __io_putchar(int ch)
{
 uint8_t c[1];
 c[0] = ch & 0x00FF;
 HAL_UART_Transmit(&huart6, &*c, 1, 10);
 return ch;
}

int _write(int file,char *ptr, int len)
{
 int DataIdx;
 for(DataIdx= 0; DataIdx< len; DataIdx++)
 {
 __io_putchar(*ptr++);
 }
return len;
}
/* USER CODE END 4 */

void Error_Handler(void)
{
}

/************************ (C) COPYRIGHT STMicroelectronics *****END OF FILE****/
